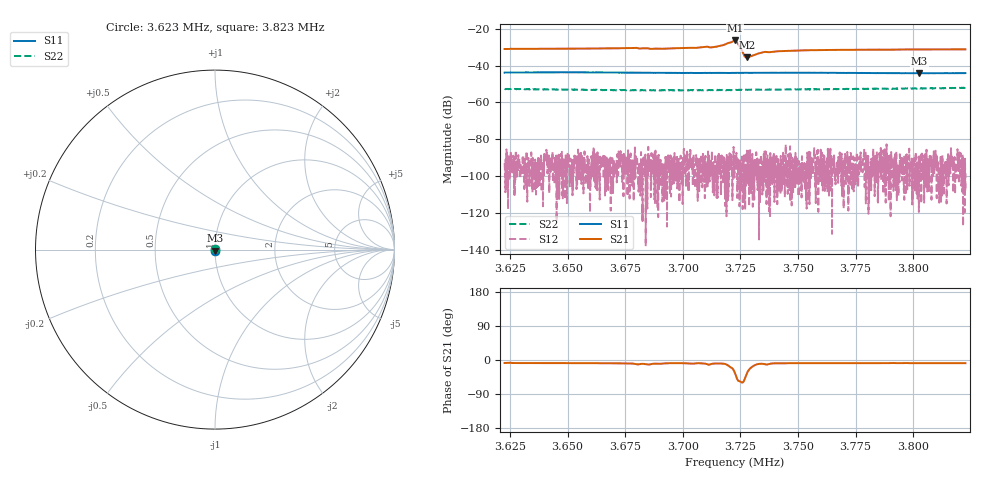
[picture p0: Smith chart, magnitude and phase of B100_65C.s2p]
# Hz S dB R 50.000
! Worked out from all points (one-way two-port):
!   6401 points, 3.623 MHz to 3.823 MHz, reference 50 ohm
!   highest |S21| = -26.28 dB at 3.723 MHz (marker M1); lowest = -35.5 dB at 3.728 MHz (marker M2)
!   lowest |S11| = -44.1 dB at 3.803 MHz (marker M3), VSWR 1.01, Z = 50 - j0.621 ohm
!   |S11| at or under -10 dB: start of sweep to end of sweep
!   |S22| runs from -53.5 to -51.9 dB; largest |S21 - S12| = 0.049
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3622656  -43.75 -92.4  -30.93 -7.9  -92.86 0.1  -52.61 113.4
3656000  -43.61 -91.9  -30.72 -8.3  -100.48 -120.2  -53.09 112.8
3679218  -43.80 -92.3  -30.32 -10.0  -84.43 105.8  -53.20 111.2
3686437  -43.85 -92.9  -30.86 -10.6  -90.01 39.3  -53.38 110.7
3689344  -43.87 -92.6  -30.69 -9.9  -100.67 -68.8  -53.36 110.2
3705437  -43.95 -93.4  -30.34 -9.1  -98.26 52.6  -53.35 109.1
3710062  -43.95 -93.6  -29.73 -10.0  -97.52 -93.5  -53.20 110.2
3712781  -43.91 -93.1  -29.98 -9.9  -100.82 54.4  -53.32 109.8
3717000  -43.91 -93.3  -29.02 -9.5  -92.08 49.3  -53.13 110.7
3722031  -43.93 -93.1  -26.57 -26.4  -84.18 95.7  -53.24 111.5
3722656  -43.92 -93.4  -26.28 -34.5  -96.04 97.2  -53.22 111.6
3723250  -43.93 -93.5  -26.64 -44.8  -88.30 151.6  -53.14 111.2
3723906  -43.88 -93.2  -28.01 -53.7  -102.16 62.3  -53.28 111.4
3726812  -43.87 -93.3  -34.80 -50.7  -90.37 48.9  -53.08 111.9
3727312  -43.90 -93.2  -35.42 -42.7  -105.27 -22.7  -53.14 111.9
3727812  -43.86 -93.2  -35.54 -35.2  -86.17 76.9  -53.07 111.3
3728750  -43.83 -93.3  -35.25 -25.5  -100.25 -70.2  -53.10 111.1
3735281  -43.86 -93.1  -32.55 -10.6  -102.34 -43.4  -53.07 111.9
3756000  -43.86 -93.2  -31.57 -8.4  -95.73 -5.2  -52.76 112.9
3789344  -44.02 -92.6  -31.29 -8.3  -103.74 -114.0  -52.60 113.7
3802656  -44.12 -92.7  -31.16 -8.4  -99.86 -88.9  -52.14 113.0
3822656  -44.02 -92.0  -31.12 -8.5  -98.52 162.4  -52.09 113.0
